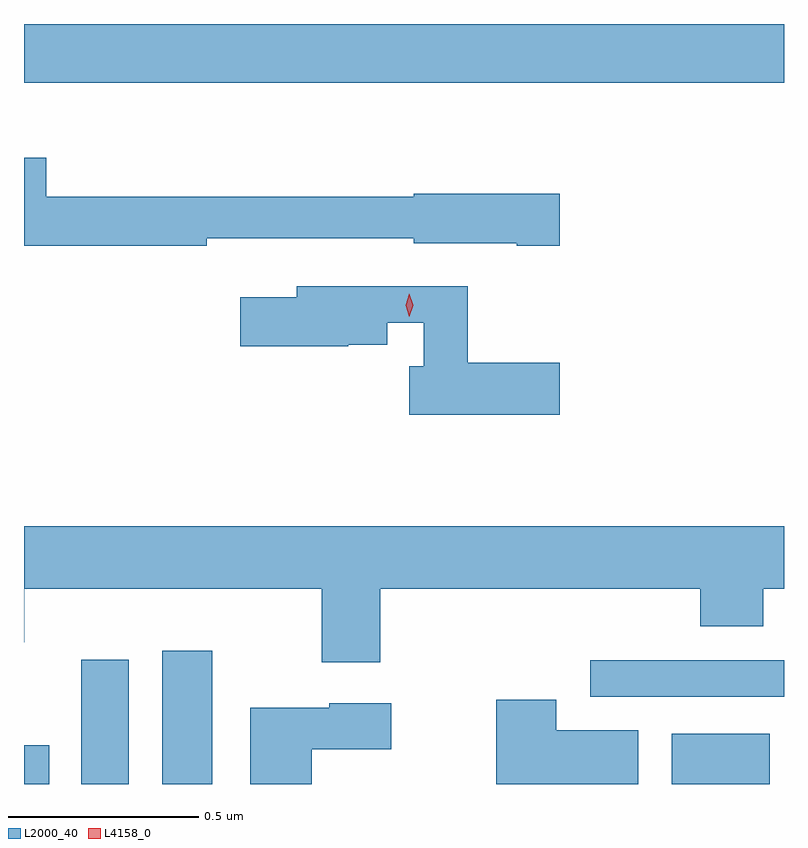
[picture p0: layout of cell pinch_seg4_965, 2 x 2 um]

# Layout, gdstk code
import gdstk
lib = gdstk.Library(unit=1e-6, precision=1e-09)
def R(c, l, rs):  # rectangles x0, y0, x1, y1
    for r in rs: c.add(gdstk.rectangle(r[:2], r[2:], *l))
def P(c, l, *ps):  # polygons
    for p in ps: c.add(gdstk.Polygon(p, *l))
L2000_40 = (2000, 40)
L4158_0 = (4158, 0)

pinch_seg4_965 = lib.new_cell('pinch_seg4_965')
R(pinch_seg4_965, L2000_40, [(758.839,781.654,758.905,781.756), (758.99,781.654,759.115,781.981), (759.203,781.654,759.334,782.005), (760.544,781.654,760.801,781.786), (760.329,781.884,760.839,781.98), (758.839,783.5,760.839,783.654)])
P(pinch_seg4_965, L2000_40, [(759.32,783.09),(759.864,783.09),(759.864,783.077),(760.136,783.077),(760.136,783.07),(760.249,783.07),(760.249,783.207),(759.864,783.207),(759.864,783.199),(758.897,783.199),(758.897,783.302),(758.839,783.302),(758.839,783.07),(759.32,783.07)],
  [(760.249,782.763),(760.007,782.763),(760.007,782.964),(759.557,782.964),(759.557,782.935),(759.408,782.935),(759.408,782.806),(759.692,782.806),(759.692,782.81),(759.795,782.81),(759.795,782.868),(759.891,782.868),(759.891,782.754),(759.853,782.754),(759.853,782.626),(760.249,782.626)],
  [(759.776,782.168),(760.619,782.168),(760.619,782.069),(760.784,782.069),(760.784,782.168),(760.839,782.168),(760.839,782.332),(758.839,782.332),(758.839,782.027),(758.84,782.027),(758.84,782.168),(759.623,782.168),(759.623,781.974),(759.776,781.974)],
  [(760.456,781.795),(760.24,781.795),(760.24,781.876),(760.082,781.876),(760.082,781.654),(760.456,781.654)],
  [(759.596,781.745),(759.805,781.745),(759.805,781.867),(759.642,781.867),(759.642,781.855),(759.434,781.855),(759.434,781.654),(759.596,781.654)])
P(pinch_seg4_965, L4158_0, [(759.853,782.883),(759.853,782.884),(759.843,782.914),(759.853,782.944),(759.853,782.944),(759.853,782.944),(759.863,782.914),(759.853,782.884)])

lib.write_gds('pinch_seg4_965.gds')
